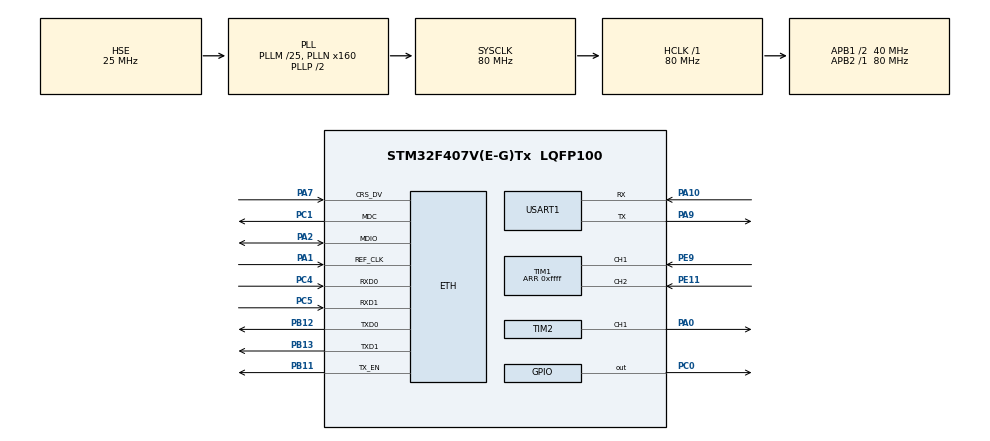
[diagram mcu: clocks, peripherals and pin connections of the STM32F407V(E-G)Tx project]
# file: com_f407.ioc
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ETH.MediaInterface=ETH_MEDIA_INTERFACE_RMII
ETH.PHY_Name_RMII=userPHY
ETH.PHY_SR=0x1F
FREERTOS.Tasks01=defaultTask,0,128,StartDefaultTask,Default,NULL,Dynamic,NULL,NULL
LWIP.GATEWAY_ADDRESS=192.168.000.001
LWIP.IP_ADDRESS=192.168.000.198
LWIP.LWIP_DHCP=0
LWIP.LWIP_DNS=1
LWIP.NETMASK_ADDRESS=255.255.255.000
LWIP.Version=v2.1.2_Cube
Mcu.Family=STM32F4
Mcu.Name=STM32F407V(E-G)Tx
Mcu.Package=LQFP100
NVIC.ETH_IRQn=true\:5\:0\:false\:false\:true\:true\:false\:true
NVIC.PriorityGroup=NVIC_PRIORITYGROUP_4
NVIC.TIM3_IRQn=true\:5\:0\:false\:false\:true\:true\:true\:true
NVIC.USART1_IRQn=true\:5\:0\:false\:false\:true\:true\:true\:true
PA0-WKUP.Signal=S_TIM2_CH1_ETR
PA1.Mode=RMII
PA1.Signal=ETH_REF_CLK
PA10.Mode=Asynchronous
PA10.Signal=USART1_RX
PA13.Mode=Serial_Wire
PA13.Signal=SYS_JTMS-SWDIO
PA14.Mode=Serial_Wire
PA14.Signal=SYS_JTCK-SWCLK
PA2.Mode=RMII
PA2.Signal=ETH_MDIO
PA7.Mode=RMII
PA7.Signal=ETH_CRS_DV
PA9.Mode=Asynchronous
PA9.Signal=USART1_TX
PB11.Mode=RMII
PB11.Signal=ETH_TX_EN
PB12.Mode=RMII
PB12.Signal=ETH_TXD0
PB13.Mode=RMII
PB13.Signal=ETH_TXD1
PC0.Signal=GPIO_Output
PC1.Mode=RMII
PC1.Signal=ETH_MDC
PC14-OSC32_IN.Mode=LSE-External-Oscillator
PC14-OSC32_IN.Signal=RCC_OSC32_IN
PC15-OSC32_OUT.Mode=LSE-External-Oscillator
PC15-OSC32_OUT.Signal=RCC_OSC32_OUT
PC4.Mode=RMII
PC4.Signal=ETH_RXD0
PC5.Mode=RMII
PC5.Signal=ETH_RXD1
PE11.Signal=S_TIM1_CH2
PE9.Signal=S_TIM1_CH1
PH0-OSC_IN.Mode=HSE-External-Oscillator
PH0-OSC_IN.Signal=RCC_OSC_IN
PH1-OSC_OUT.Mode=HSE-External-Oscillator
PH1-OSC_OUT.Signal=RCC_OSC_OUT
ProjectManager.HeapSize=0x200
ProjectManager.StackSize=0x400
ProjectManager.TargetToolchain=MDK-ARM V5.32
RCC.48MHZClocksFreq_Value=40000000
RCC.AHBFreq_Value=80000000
RCC.APB1CLKDivider=RCC_HCLK_DIV2
RCC.APB1Freq_Value=40000000
RCC.APB1TimFreq_Value=80000000
RCC.APB2Freq_Value=80000000
RCC.APB2TimFreq_Value=80000000
RCC.CortexFreq_Value=80000000
RCC.HCLKFreq_Value=80000000
RCC.HSE_VALUE=25000000
RCC.HSI_VALUE=16000000
RCC.PLLM=25
RCC.PLLN=160
RCC.PLLSourceVirtual=RCC_PLLSOURCE_HSE
RCC.SYSCLKFreq_VALUE=80000000
RCC.SYSCLKSource=RCC_SYSCLKSOURCE_PLLCLK
RCC.VCOOutputFreq_Value=160000000
SH.S_TIM1_CH1.0=TIM1_CH1,Encoder_Interface
SH.S_TIM1_CH2.0=TIM1_CH2,Encoder_Interface
SH.S_TIM2_CH1_ETR.0=TIM2_CH1,PWM Generation1 CH1
TIM1.EncoderMode=TIM_ENCODERMODE_TI12
TIM1.Period=0xffff
TIM2.Channel-PWM\ Generation1\ CH1=TIM_CHANNEL_1
TIM2.Period=10000
TIM3.Period=10000
TIM3.Prescaler=72-1
USART1.VirtualMode=VM_ASYNC
VP_FREERTOS_VS_CMSIS_V1.Mode=CMSIS_V1
VP_LWIP_VS_Enabled.Mode=Enabled
VP_TIM2_VS_ClockSourceINT.Mode=Internal
VP_TIM3_VS_ClockSourceINT.Mode=Internal
board=custom

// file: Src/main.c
/* USER CODE BEGIN Header */
/**
  ******************************************************************************
  * @file           : main.c
  * @brief          : Main program body
  ******************************************************************************
  * @attention
  *
  * Copyright (c) 2025 STMicroelectronics.
  * All rights reserved.
  *
  * This software is licensed under terms that can be found in the LICENSE file
  * in the root directory of this software component.
  * If no LICENSE file comes with this software, it is provided AS-IS.
  *
  ******************************************************************************
  */
/* USER CODE END Header */
#include "main.h"
#include "cmsis_os.h"
#include "lwip.h"
#include "tim.h"
#include "usart.h"
#include "gpio.h"

/* USER CODE BEGIN Includes */
#include <stdio.h>
/* USER CODE END Includes */

void SystemClock_Config(void);
void MX_FREERTOS_Init(void);

int main(void)
{

  /* MCU Configuration--------------------------------------------------------*/

  /* Reset of all peripherals, Initializes the Flash interface and the Systick. */
  HAL_Init();

  /* Configure the system clock */
  SystemClock_Config();

  /* Initialize all configured peripherals */
  MX_GPIO_Init();
  MX_USART1_UART_Init();
  MX_TIM1_Init();
  MX_TIM2_Init();
  MX_TIM3_Init();

  /* Call init function for freertos objects (in freertos.c) */
  MX_FREERTOS_Init();
  /* Start scheduler */
  osKernelStart();

  /* We should never get here as control is now taken by the scheduler */
  /* Infinite loop */
  while (1)
  {

  }
}

void SystemClock_Config(void)
{
  RCC_OscInitTypeDef RCC_OscInitStruct = {0};
  RCC_ClkInitTypeDef RCC_ClkInitStruct = {0};

  /** Configure the main internal regulator output voltage
  */
  __HAL_RCC_PWR_CLK_ENABLE();
  __HAL_PWR_VOLTAGESCALING_CONFIG(PWR_REGULATOR_VOLTAGE_SCALE1);
  /** Initializes the RCC Oscillators according to the specified parameters
  * in the RCC_OscInitTypeDef structure.
  */
  RCC_OscInitStruct.OscillatorType = RCC_OSCILLATORTYPE_HSE;
  RCC_OscInitStruct.HSEState = RCC_HSE_ON;
  RCC_OscInitStruct.PLL.PLLState = RCC_PLL_ON;
  RCC_OscInitStruct.PLL.PLLSource = RCC_PLLSOURCE_HSE;
  RCC_OscInitStruct.PLL.PLLM = 25;
  RCC_OscInitStruct.PLL.PLLN = 160;
  RCC_OscInitStruct.PLL.PLLP = RCC_PLLP_DIV2;
  RCC_OscInitStruct.PLL.PLLQ = 4;
  if (HAL_RCC_OscConfig(&RCC_OscInitStruct) != HAL_OK)
  {
    Error_Handler();
  }
  /** Initializes the CPU, AHB and APB buses clocks
  */
  RCC_ClkInitStruct.ClockType = RCC_CLOCKTYPE_HCLK|RCC_CLOCKTYPE_SYSCLK
                              |RCC_CLOCKTYPE_PCLK1|RCC_CLOCKTYPE_PCLK2;
  RCC_ClkInitStruct.SYSCLKSource = RCC_SYSCLKSOURCE_PLLCLK;
  RCC_ClkInitStruct.AHBCLKDivider = RCC_SYSCLK_DIV1;
  RCC_ClkInitStruct.APB1CLKDivider = RCC_HCLK_DIV2;
  RCC_ClkInitStruct.APB2CLKDivider = RCC_HCLK_DIV1;

  if (HAL_RCC_ClockConfig(&RCC_ClkInitStruct, FLASH_LATENCY_2) != HAL_OK)
  {
    Error_Handler();
  }
}

void Error_Handler(void)
{
  __disable_irq();
  while (1)
  {
  }
}

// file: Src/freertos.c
/* USER CODE BEGIN Header */
/**
  ******************************************************************************
  * File Name          : freertos.c
  * Description        : Code for freertos applications
  ******************************************************************************
  * @attention
  *
  * Copyright (c) 2025 STMicroelectronics.
  * All rights reserved.
  *
  * This software is licensed under terms that can be found in the LICENSE file
  * in the root directory of this software component.
  * If no LICENSE file comes with this software, it is provided AS-IS.
  *
  ******************************************************************************
  */
/* USER CODE END Header */

#include "FreeRTOS.h"
#include "task.h"
#include "main.h"
#include "cmsis_os.h"

/* USER CODE BEGIN Includes */
#include "string.h"
#include "lwip/dns.h"
#include "lwip/api.h"
#include "lwip/opt.h"
#include "lwip/sys.h"
#include "lwip/apps/mqtt.h"
#include <lwip/sockets.h>
/* USER CODE END Includes */

osThreadId defaultTaskHandle;

/* USER CODE BEGIN FunctionPrototypes */
static void pid_thread(void *param);
static void MqttTestTask(void *pvParameter);
static void httpserver_thread(void *param);
/* USER CODE END FunctionPrototypes */

void StartDefaultTask(void const * argument);

extern void MX_LWIP_Init(void);
void MX_FREERTOS_Init(void); /* (MISRA C 2004 rule 8.1) */

/* GetIdleTaskMemory prototype (linked to static allocation support) */
void vApplicationGetIdleTaskMemory( StaticTask_t **ppxIdleTaskTCBBuffer, StackType_t **ppxIdleTaskStackBuffer, uint32_t *pulIdleTaskStackSize );

/* USER CODE BEGIN GET_IDLE_TASK_MEMORY */
static StaticTask_t xIdleTaskTCBBuffer;
static StackType_t xIdleStack[configMINIMAL_STACK_SIZE];

void vApplicationGetIdleTaskMemory( StaticTask_t **ppxIdleTaskTCBBuffer, StackType_t **ppxIdleTaskStackBuffer, uint32_t *pulIdleTaskStackSize )
{
  *ppxIdleTaskTCBBuffer = &xIdleTaskTCBBuffer;
  *ppxIdleTaskStackBuffer = &xIdleStack[0];
  *pulIdleTaskStackSize = configMINIMAL_STACK_SIZE;
  /* place for user code */
}
/* USER CODE END GET_IDLE_TASK_MEMORY */

void MX_FREERTOS_Init(void) {

  /* Create the thread(s) */
  /* definition and creation of defaultTask */
  osThreadDef(defaultTask, StartDefaultTask, osPriorityNormal, 0, 128);
  defaultTaskHandle = osThreadCreate(osThread(defaultTask), NULL);

}

void StartDefaultTask(void const * argument)
{
  /* init code for LWIP */
  MX_LWIP_Init();
  /* USER CODE BEGIN StartDefaultTask */

	//xTaskCreate(pid_thread, "pid_thread", 512, NULL, 0, NULL);
	xTaskCreate(MqttTestTask, "MqttTestTask", 512, NULL, 0, NULL);
	xTaskCreate(httpserver_thread, "httpserver_thread", 512, NULL, 0, NULL);

  /* Infinite loop */
  for(;;)
  {
    osDelay(1);
  }
  /* USER CODE END StartDefaultTask */
}

/* USER CODE BEGIN Application */

/* PID Task */
#include "motor/motor.h"
#include "pid/pid.h"
#include "pid/pid_protocol.h"
#include "tim.h"

pid_t pid;		// 定义一个pid对象，如果需要多环，则定义多个对象

static void pid_thread(void *param)
{
	// PID初始化
//	PID_param_init(&pid, 0.21, 0.07, 0.32);
//	PID_param_init(&pid, 0.2, 0.08, 0.01);
	PID_param_init(&pid, 0.65, 0.55, 0.01);
	protocol_init();

	int target = 150;		// 设置目标值
	PID_set_target(&pid, target);
	set_computer_value(SEND_TARGET_CMD, 1, &target, 1);

	unsigned int period = 1;		// 设置更新周期（1s）
	set_computer_value(SEND_PERIOD_CMD, 1, &period, 1);

	float buf[3];
	PID_get_pid(&pid, buf);			// 显示初始PID参数
	set_computer_value(SEND_P_I_D_CMD, 1, buf, 3*sizeof(float));

	// 启动定时器1编码器
	HAL_TIM_Base_Start(&htim1);
	HAL_TIM_Encoder_Start(&htim1, TIM_CHANNEL_ALL);

	// 启动定时器2，用于pwm输出
	HAL_TIM_Base_Start(&htim2);
	htim1.Instance->CNT = 0x7fff;

	// 启动定时器3，用于定时
	HAL_TIM_Base_Start_IT(&htim3);

	// 启动电机
	set_computer_value(SEND_START_CMD, 1, NULL, 0);
	motor_start();

	while (1)
  {
		if(RecvFlag) {
			RecvFlag = 0;

			uint16_t buf_len = 0;
			for(buf_len=sizeof(RecvBuffer)-1; (buf_len>0) && (!RecvBuffer[buf_len]); buf_len--);
			buf_len++;

			protocol_data_recv(RecvBuffer, buf_len);
			receiving_process();

			while(buf_len--) RecvBuffer[buf_len] = 0;
		}

		// 用于观察PID算法执行过程
		int temp = __HAL_TIM_GET_COMPARE(&htim2, TIM_CHANNEL_1);
		set_computer_value(SEND_PERIOD_CMD, 1, &temp, 1);

		HAL_Delay(1000);
    /* USER CODE END WHILE */

    /* USER CODE BEGIN 3 */
  }
}

/* MQTT Task */
#define PORT            18830
#define HOST_NAME       "mq.tongxinmao.com"  		// 通信猫服务器域名
#define IP_ADDR         "120.76.100.197"			// 手动获取的IP地址

char *ClientId = "MqttTest";
char *ClientUser = NULL;
char *ClientPass = NULL;

char SubscriTopic[] = "set_target";		// 要订阅的主题
char PublishTopic[] = "reply";			// 要发布消息的主题
char payload[] = "currrent speed: %f rpm";					// 要发布的消息

static uint8_t topic_flag = 0xff;
#define TOPIC_SPEED	1
#define TOPIC_SS	2

// 客户端连接到服务状态
void Cb(mqtt_client_t *client, void *arg, mqtt_connection_status_t status)
{
    // 源码中所有状态的例举
    switch((uint16_t)status)
    {
        case MQTT_CONNECT_ACCEPTED:;
        case MQTT_CONNECT_REFUSED_PROTOCOL_VERSION:;
        case MQTT_CONNECT_REFUSED_IDENTIFIER:;
        case MQTT_CONNECT_REFUSED_SERVER:;
        case MQTT_CONNECT_REFUSED_USERNAME_PASS:;
        case MQTT_CONNECT_REFUSED_NOT_AUTHORIZED_:;
        case MQTT_CONNECT_DISCONNECTED:;
        case MQTT_CONNECT_TIMEOUT:;
    }
}

// 订阅或者发布时的结果回调
void cb(void *arg, err_t err)
{
    char* p = arg;
    if(strcmp(p,"publish") == 0) {		// 成功发布了一条消息
        return;
    }	else if(strcmp(p,"subscribe") == 0) {		// 成功订阅了一个主题
        return;
    }
}

// 订阅主题后，客户端收到服务端推送的主题回调
void mipcb(void *arg, const char *topic, u32_t tot_len)
{
		if(strcmp(topic,"set_target") == 0) {		// 设置电机转速
				topic_flag = TOPIC_SPEED;
		} else if(strcmp(topic,"set_ss") == 0) {		// 设置电机启停
				topic_flag = TOPIC_SS;
		}

    return;
}

// 订阅主题，客户端收到服务端推送的主题的消息回调
void midcb(void *arg, const u8_t *data, u16_t len, u8_t flags)
{
		int num = atoi((const char *)data);

		switch(topic_flag) {
			case TOPIC_SPEED:		// 设置速度目标值
				PID_set_target(&pid, num);
				set_computer_value(SEND_TARGET_CMD, 1, &num, 1);
				break;
			case TOPIC_SS:		// 设置电机启停
				if(num == 0) motor_stop();
				else if(num == 1) motor_start();
				break;
			default:
		}
    return;
}

static void MqttTestTask(void *pvParameter)
{
    // 设置主 DNS 服务器
    ip_addr_t dns_server;
    IP4_ADDR(&dns_server, 8, 8, 8, 8);
    dns_setserver(0, &dns_server); // 第 1 个 DNS

    // 获取 MQTT 服务器地址
    char* host_ip = IP_ADDR;
    ip4_addr_t dns_ip;
    netconn_gethostbyname(HOST_NAME, &dns_ip);
    host_ip = ip_ntoa(&dns_ip);
    printf("host name : %s , host_ip : %s\n", HOST_NAME, host_ip);
    ip4_addr_t MqttServer = { inet_addr(host_ip) };

    while(1)
    {
        // 创建一个MQTT客户端
        mqtt_client_t* MqttClient = mqtt_client_new();

        // 新建一个客户端连接到服务器需要的信息块，以及填充相应的信息
        // 客户端ID 用户名 用户密码 心跳时间 遗愿主题 遗愿消息 遗愿消息等级 有无遗愿
        struct mqtt_connect_client_info_t Ci = {ClientId, ClientUser, ClientPass, 60, NULL, NULL, 0, 0};
        // 连接到服务器
        mqtt_client_connect(MqttClient, &MqttServer, PORT, Cb, NULL, &Ci);

        // 这里只为测试，因为是RTOS需要调度，要等协议栈连接 上边的连接服务器方法不会阻塞 所以添加延时
        vTaskDelay(1000);

        // 注册订阅信息后，收到数据的回调
        mqtt_set_inpub_callback(MqttClient, mipcb, midcb, NULL);
        // 订阅主题，第一个用于设置电机转速，第二个用于设置电机启停
        //mqtt_subscribe(MqttClient, SubscriTopic, 0, cb, "subscribe");
				mqtt_subscribe(MqttClient, "set_target", 0, cb, "subscribe");
				mqtt_subscribe(MqttClient, "set_ss", 0, cb, "subscribe");

        // 查询是否连接到服务器
        while( mqtt_client_is_connected(MqttClient) )
        {
						char msg[100];
            snprintf(msg, 100, payload, speed);
						msg[strlen(msg)] = 0;

            vTaskDelay(1000);
            // 发布消息，内容为电机当前转速
            mqtt_publish(MqttClient, PublishTopic, msg, strlen(msg), 0, 0, cb, "publish");
        }

        // 断开客户端到服务器的连接 参数客户端
        mqtt_disconnect(MqttClient);
        // 释放创建的客户端所占内存
        mqtt_client_free(MqttClient);

        vTaskDelay(1000);
    }
}

/* HTTP Task */
const static char http_html_hdr[] =
    "HTTP/1.1 200 OK\r\nContent-type: text/html\r\n\r\nConnection: close\r\n"
"<!DOCTYPE html>"
"<html>";

const unsigned char Led1On_Data[] =
    "<HTML> \
<head><title>HTTP MOTOR Control</title></head> \
<center> \
<p> \
<font size=\"6\">MOTOR<font style = \"color:red\">已打开！</font> \
<form method=post action=\"off\" name=\"motorform\"> \
<input type=\"submit\" value=\"关闭\" style=\"width:80px;height:30px;\"></form> ";

//当MOTOR灭时，向浏览器返回如下html信息，显示结果如下图15-7所示
const unsigned char Led1Off_Data[] =
    "<HTML> \
<head><title>HTTP MOTOR Control</title></head> \
<center> \
<p> \
<font size=\"6\">MOTOR<font style = \"color:red\">已关闭！</font> \
<form method=post action=\"on\" name=\"motorform\"> \
<input type=\"submit\" value=\"打开\" style=\"width:80px;height:30px;\"></form> ";

//const unsigned char Speed_Data[] =
//	"<p> \
//<font size=\"6\">cur speed: <font style = \"color:red\">%d</font> \
//<p> \
//<input type=\"number\" min=0 id=\"speed\" name=\"speed\" placeholder=\"set motor speed\" style=\"width:150px;height:30px;\"></form> \
//<form method=post action=\"set\" name=\"motorform\"> \
//<input type=\"submit\" value=\"设置目标速度\" style=\"width:100px;height:30px;\"></form> \
//<p> \
//</center> \
//</HTML> ";

const unsigned char Speed_Data[] =
"<form method=post action=\"set\">"
"  <label for='number'>电机目标速度:</label>"
"  <input type='number' id='number' name='number' min='0'>"
"  <input type='submit' value='设置'>"
"</form>";

static const char http_index_html[] =
    "<html><head><title>Congrats!</title></head>\
<body><h2 align=\"center\">Welcome to HandSomePig lwIP HTTP Server!</h2>\
<p align=\"center\">This is a small test page : http control motor.</p>\
<p align=\"center\"><a href=\"http://www.baidu.com/\">\
<font size=\"6\"> 帅猪 </font> </a></p>\
</body></html>";

#define MOTOR_OFF	0
#define MOTOR_ON	1

// 记录MOTOR状态
static uint8_t motor_on = MOTOR_OFF;

/*发送网页数据*/
void httpserver_send_html(struct netconn *conn, uint8_t motor_status)
{
    //发送数据头
    netconn_write(conn, http_html_hdr,
                sizeof(http_html_hdr)-1, NETCONN_NOCOPY);

    /* 根据MOTOR状态，发送不同的MOTOR数据 */
    if (motor_status == MOTOR_ON)
        netconn_write(conn, Led1On_Data,
                    sizeof(Led1On_Data)-1, NETCONN_NOCOPY);
    else
        netconn_write(conn, Led1Off_Data,
                    sizeof(Led1Off_Data)-1, NETCONN_NOCOPY);

		netconn_write(conn, Speed_Data,
                sizeof(Speed_Data)-1, NETCONN_NOCOPY);

    netconn_write(conn, http_index_html,
                sizeof(http_index_html)-1, NETCONN_NOCOPY);

}

static void httpserver_serve(struct netconn *conn)
{
    struct netbuf *inbuf;
    char *buf;
    u16_t buflen;
    err_t err;

    /* 等待客户端的命令数据 */
    err = netconn_recv(conn, &inbuf);

    if (err == ERR_OK)
    {
        netbuf_data(inbuf, (void**)&buf, &buflen);

        if (buflen>=5 &&
                buf[0]=='G' &&
                buf[1]=='E' &&
                buf[2]=='T' &&
                buf[3]==' ' &&
                buf[4]=='/' )		// “GET”命令
        {
            /* 发送数据 */
            httpserver_send_html(conn, motor_on);
        }

        else if (buflen>=8&&buf[0]=='P'&&buf[1]=='O'
                &&buf[2]=='S'&&buf[3]=='T')		//“POST” 命令
        {
            if (buf[6]=='o'&&buf[7]=='n')
            {
                //请求打开MOTOR
                motor_on = MOTOR_ON;

				        // 启动电机
								motor_start();

            }
            else if (buf[6]=='o'&&buf[7]=='f'&&buf[8]=='f')
            {
                //请求关闭MOTOR
                motor_on = MOTOR_OFF;

				        // 开启电机
                motor_stop();
            }
						else if (buf[6]=='s'&&buf[7]=='e'&&buf[8]=='t')
						{
								printf("%s\n", buf);

								// 查找请求体开始位置
								char *post_data = strstr(buf, "number=");
								if (post_data != NULL) {
										printf("%s\n", post_data);

										// 解析表单数据 (格式为 number=123)
										int number = 0;
										if (sscanf(post_data, "number=%d", &number) == 1) {
												// 处理接收到的数字
												printf("接收到数字: %d\n", number);

												// 发送响应页面
												char response[256];
												snprintf(response, sizeof(response),
														"HTTP/1.1 200 OK\r\n"
														"Content-Type: text/html\r\n"
														"Connection: close\r\n"
														"\r\n"
														"<html><body>"
														"<h1>成功接收数据</h1>"
														"<p>接收到的数字: %d</p>"
														"<a href='/'>返回</a>"
														"</body></html>", number);

												netconn_write(conn, response, strlen(response), NETCONN_COPY);
										}
								}
						}

            //发送数据
            httpserver_send_html(conn, motor_on);
        }

        netbuf_delete(inbuf);
    }

    /* 关闭连接 */
    netconn_close(conn);
}

static void  httpserver_thread(void *arg)
{
    struct netconn *conn, *newconn;
    err_t err;
    LWIP_UNUSED_ARG(arg);

    /* 创建连接结构 */
    conn = netconn_new(NETCONN_TCP);
    LWIP_ERROR("http_server: invalid conn", (conn != NULL), return;);

		/* 默认开启电机 */
    motor_on = MOTOR_ON;

    /* 绑定IP地址与端口号*/
    netconn_bind(conn, NULL, 80);

    /* 监听 */
    netconn_listen(conn);

    do {
        err = netconn_accept(conn, &newconn);
        if (err == ERR_OK)
        {
            httpserver_serve(newconn);
            netconn_delete(newconn);
        }

				vTaskDelay(1000);
    } while (err == ERR_OK);

    netconn_close(conn);
    netconn_delete(conn);
}

/* USER CODE END Application */
